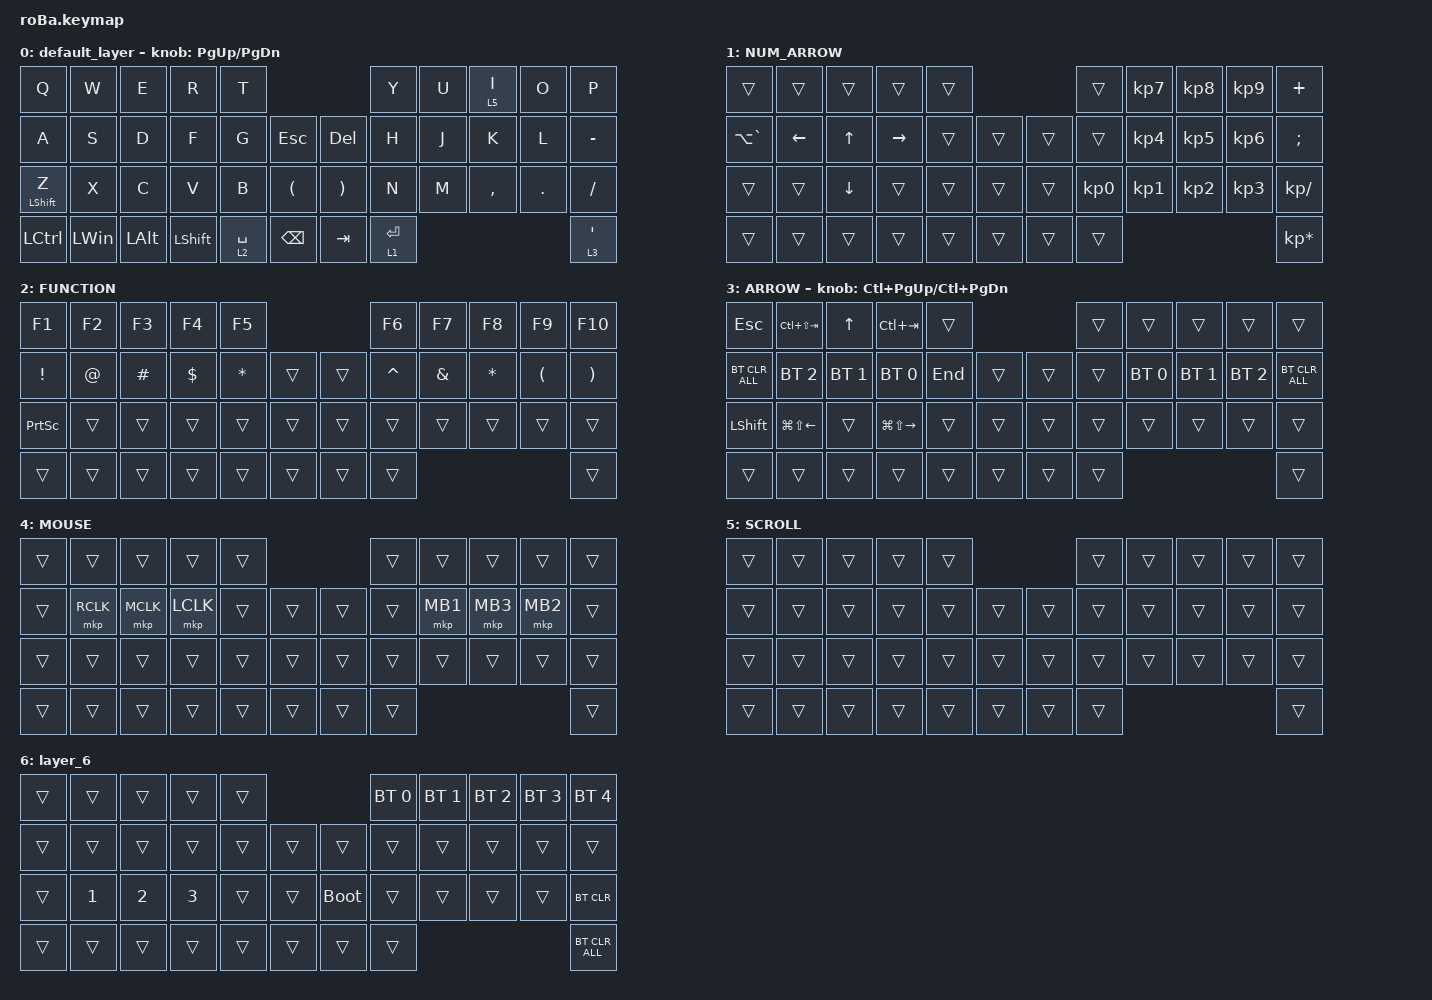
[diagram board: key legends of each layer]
#include <behaviors.dtsi>
#include <dt-bindings/zmk/bt.h>
#include <dt-bindings/zmk/keys.h>
#include <dt-bindings/zmk/pointing.h>

&mt {
    flavor = "balanced";
    quick-tap-ms = <0>;
};

&trackball {
    automouse-layer = <4>;
    scroll-layers = <5>;

    // arrows {
    //     layers = <3>;
    //     bindings =
    //         <&kp RIGHT_ARROW>,
    //         <&kp LEFT_ARROW>,
    //         <&kp UP_ARROW>,
    //         <&kp DOWN_ARROW>;
    //     tick = <10>;
    //     wait-ms = <5>;
    //     tap-ms = <5>;
    // };
};

/ {
    combos {
        compatible = "zmk,combos";

        tab {
            bindings = <&kp TAB>;
            key-positions = <11 12>;
        };

        shift_tab {
            bindings = <&kp LS(TAB)>;
            key-positions = <12 13>;
        };

        muhennkann {
            bindings = <&to_layer_0 INT_MUHENKAN>;
            key-positions = <11 10>;
        };

        double_quotation {
            bindings = <&kp DOUBLE_QUOTES>;
            key-positions = <20 21>;
        };

        eq {
            bindings = <&kp EQUAL>;
            key-positions = <24 25>;
        };
    };

    macros {
        to_layer_0: to_layer_0 {
            compatible = "zmk,behavior-macro-one-param";
            #binding-cells = <1>;
            bindings = <&to 0 &macro_param_1to1 &kp MACRO_PLACEHOLDER>;
            label = "TO_LAYER_0";
        };
    };

    behaviors {
        lt_to_layer_0: lt_to_layer_0 {
            compatible = "zmk,behavior-hold-tap";
            label = "LAYER_TAP_TO_0";
            bindings = <&mo>, <&to_layer_0>;

            #binding-cells = <2>;
            tapping-term-ms = <200>;
        };
    };

    keymap {
        compatible = "zmk,keymap";

        default_layer {
            bindings = <
&kp Q             &kp W         &kp E         &kp R           &kp T                                                         &kp Y        &kp U  &lt 5 I    &kp O    &kp P
&kp A             &kp S         &kp D         &kp F           &kp G        &kp ESC                   &kp DELETE             &kp H        &kp J  &kp K      &kp L    &kp MINUS
&mt LEFT_SHIFT Z  &kp X         &kp C         &kp V           &kp B        &kp LEFT_PARENTHESIS      &kp RIGHT_PARENTHESIS  &kp N        &kp M  &kp COMMA  &kp DOT  &kp SLASH
&kp LCTRL         &kp LEFT_WIN  &kp LEFT_ALT  &kp LEFT_SHIFT  &lt 2 SPACE  &kp BACKSPACE             &kp TAB                &lt 1 ENTER                             &lt 3 SQT
            >;

            sensor-bindings = <&inc_dec_kp PG_UP PAGE_DOWN>;
        };

        NUM_ARROW {
            bindings = <
&trans         &trans    &trans        &trans     &trans                      &trans           &kp KP_NUMBER_7  &kp KP_NUMBER_8  &kp KP_NUMBER_9  &kp PLUS
&kp LA(GRAVE)  &kp LEFT  &kp UP_ARROW  &kp RIGHT  &trans  &trans      &trans  &trans           &kp KP_NUMBER_4  &kp KP_NUMBER_5  &kp KP_NUMBER_6  &kp SEMICOLON
&trans         &trans    &kp DOWN      &trans     &trans  &trans      &trans  &kp KP_NUMBER_0  &kp KP_NUMBER_1  &kp KP_NUMBER_2  &kp KP_NUMBER_3  &kp KP_DIVIDE
&trans         &trans    &trans        &trans     &trans  &trans      &trans  &trans                                                              &kp KP_MULTIPLY
            >;
        };

        FUNCTION {
            bindings = <
&kp F1           &kp F2       &kp F3    &kp F4      &kp F5                            &kp F6     &kp F7         &kp F8        &kp F9                &kp F10
&kp EXCLAMATION  &kp AT_SIGN  &kp HASH  &kp DOLLAR  &kp ASTERISK  &trans      &trans  &kp CARET  &kp AMPERSAND  &kp ASTERISK  &kp LEFT_PARENTHESIS  &kp RIGHT_PARENTHESIS
&kp PRINTSCREEN  &trans       &trans    &trans      &trans        &trans      &trans  &trans     &trans         &trans        &trans                &trans
&trans           &trans       &trans    &trans      &trans        &trans      &trans  &trans                                                        &trans
            >;
        };

        ARROW {
            bindings = <
&kp ESCAPE      &kp LC(LS(TAB))         &kp UP_ARROW  &kp LC(TAB)              &trans                       &trans  &trans        &trans        &trans        &trans
&bt BT_CLR_ALL  &bt BT_SEL 2            &bt BT_SEL 1  &bt BT_SEL 0             &kp END  &trans      &trans  &trans  &bt BT_SEL 0  &bt BT_SEL 1  &bt BT_SEL 2  &bt BT_CLR_ALL
&kp LEFT_SHIFT  &kp LG(LS(LEFT_ARROW))  &trans        &kp LG(LS(RIGHT_ARROW))  &trans   &trans      &trans  &trans  &trans        &trans        &trans        &trans
&trans          &trans                  &trans        &trans                   &trans   &trans      &trans  &trans                                            &trans
            >;

            sensor-bindings = <&inc_dec_kp LC(PAGE_UP) LC(PAGE_DOWN)>;
        };

        MOUSE {
            bindings = <
&trans  &trans     &trans     &trans     &trans                      &trans  &trans    &trans    &trans    &trans
&trans  &mkp RCLK  &mkp MCLK  &mkp LCLK  &trans  &trans      &trans  &trans  &mkp MB1  &mkp MB3  &mkp MB2  &trans
&trans  &trans     &trans     &trans     &trans  &trans      &trans  &trans  &trans    &trans    &trans    &trans
&trans  &trans     &trans     &trans     &trans  &trans      &trans  &trans                                &trans
            >;
        };

        SCROLL {
            bindings = <
&trans  &trans  &trans  &trans  &trans                      &trans  &trans  &trans  &trans  &trans
&trans  &trans  &trans  &trans  &trans  &trans      &trans  &trans  &trans  &trans  &trans  &trans
&trans  &trans  &trans  &trans  &trans  &trans      &trans  &trans  &trans  &trans  &trans  &trans
&trans  &trans  &trans  &trans  &trans  &trans      &trans  &trans                          &trans
            >;
        };

        layer_6 {
            bindings = <
&trans  &trans        &trans        &trans        &trans                           &bt BT_SEL 0  &bt BT_SEL 1  &bt BT_SEL 2  &bt BT_SEL 3  &bt BT_SEL 4
&trans  &trans        &trans        &trans        &trans  &trans      &trans       &trans        &trans        &trans        &trans        &trans
&trans  &kp NUMBER_1  &kp NUMBER_2  &kp NUMBER_3  &trans  &trans      &bootloader  &trans        &trans        &trans        &trans        &bt BT_CLR
&trans  &trans        &trans        &trans        &trans  &trans      &trans       &trans                                                  &bt BT_CLR_ALL
            >;
        };
    };
};
